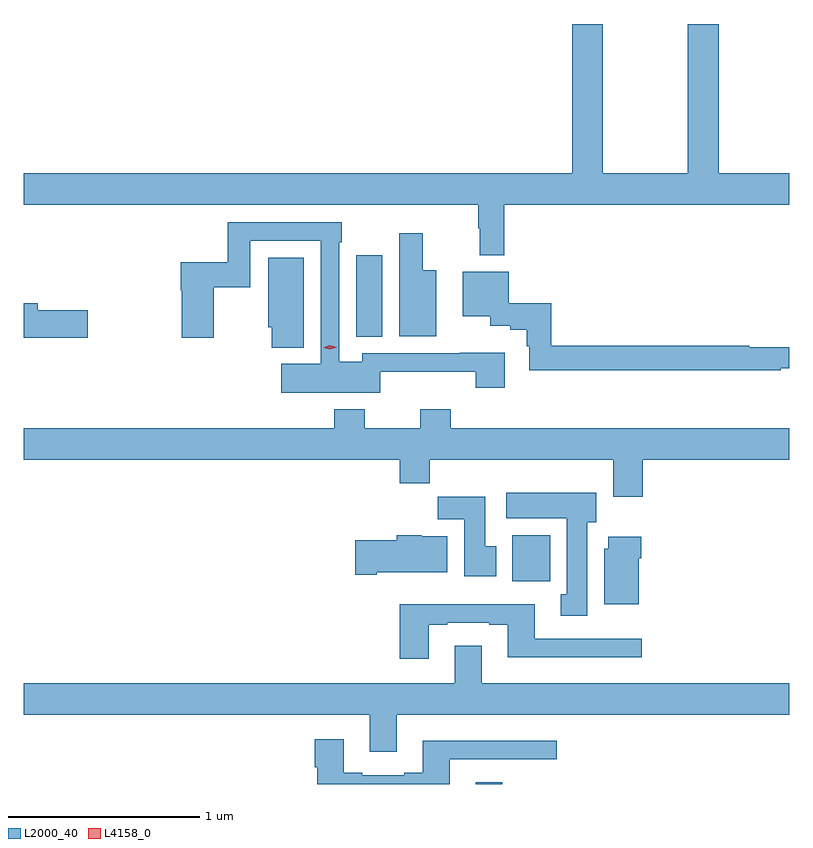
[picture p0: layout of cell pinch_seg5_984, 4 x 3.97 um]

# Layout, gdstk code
import gdstk
lib = gdstk.Library(unit=1e-6, precision=1e-09)
def R(c, l, rs):  # rectangles x0, y0, x1, y1
    for r in rs: c.add(gdstk.rectangle(r[:2], r[2:], *l))
def P(c, l, *ps):  # polygons
    for p in ps: c.add(gdstk.Polygon(p, *l))
L2000_40 = (2000, 40)
L4158_0 = (4158, 0)

pinch_seg5_984 = lib.new_cell('pinch_seg5_984')
R(pinch_seg5_984, L2000_40, [(750.731,863.058,750.871,863.068), (750.923,864.116,751.12,864.358), (750.107,865.393,750.244,865.819)])
P(pinch_seg5_984, L2000_40, [(752.37,866.248),(752,866.248),(752,867.028),(751.84,867.028),(751.84,866.248),(751.395,866.248),(751.395,867.028),(751.235,867.028),(751.235,866.248),(748.37,866.248),(748.37,866.084),(750.745,866.084),(750.745,865.961),(750.753,865.961),(750.753,865.821),(750.881,865.821),(750.881,866.084),(752.37,866.084)],
  [(750.234,865.211),(750.731,865.211),(750.731,865.128),(750.883,865.128),(750.883,865.31),(750.647,865.31),(750.647,865.308),(750.138,865.308),(750.138,865.264),(750.018,865.264),(750.018,865.889),(750.031,865.889),(750.031,865.992),(749.437,865.992),(749.437,865.783),(749.192,865.783),(749.192,865.637),(749.197,865.637),(749.197,865.389),(749.362,865.389),(749.362,865.654),(749.553,865.654),(749.553,865.896),(749.922,865.896),(749.922,865.252),(749.715,865.252),(749.715,865.103),(750.234,865.103)],
  [(750.526,865.741),(750.454,865.741),(750.454,865.936),(750.332,865.936),(750.332,865.397),(750.526,865.397)],
  [(749.833,865.807),(749.648,865.807),(749.648,865.443),(749.666,865.443),(749.666,865.337),(749.833,865.337)],
  [(752.324,865.23),(752.37,865.23),(752.37,865.339),(752.16,865.339),(752.16,865.346),(751.127,865.346),(751.127,865.568),(750.903,865.568),(750.903,865.735),(750.665,865.735),(750.665,865.502),(750.807,865.502),(750.807,865.451),(750.912,865.451),(750.912,865.432),(750.999,865.432),(750.999,865.344),(751.011,865.344),(751.011,865.218),(752.324,865.218)],
  [(748.705,865.532),(748.444,865.532),(748.444,865.568),(748.37,865.568),(748.37,865.39),(748.705,865.39)],
  [(751.604,864.752),(752.37,864.752),(752.37,864.916),(750.602,864.916),(750.602,865.015),(750.442,865.015),(750.442,864.916),(750.153,864.916),(750.153,865.015),(749.993,865.015),(749.993,864.916),(748.37,864.916),(748.37,864.752),(750.335,864.752),(750.335,864.628),(750.491,864.628),(750.491,864.752),(751.451,864.752),(751.451,864.558),(751.604,864.558)],
  [(751.315,864.426),(751.36,864.426),(751.36,864.58),(750.891,864.58),(750.891,864.446),(751.208,864.446),(751.208,864.05),(751.175,864.05),(751.175,863.937),(751.315,863.937)],
  [(750.838,864.3),(750.781,864.3),(750.781,864.559),(750.532,864.559),(750.532,864.44),(750.671,864.44),(750.671,864.144),(750.838,864.144)],
  [(750.214,864.164),(750.583,864.164),(750.583,864.352),(750.45,864.352),(750.45,864.358),(750.32,864.358),(750.32,864.33),(750.102,864.33),(750.102,864.152),(750.214,864.152)],
  [(751.582,864.236),(751.595,864.236),(751.595,864.349),(751.424,864.349),(751.424,864.288),(751.403,864.288),(751.403,863.996),(751.582,863.996)],
  [(750.487,863.889),(750.583,863.889),(750.583,863.901),(750.803,863.901),(750.803,863.889),(750.899,863.889),(750.899,863.72),(751.6,863.72),(751.6,863.817),(751.039,863.817),(751.039,863.998),(750.335,863.998),(750.335,863.712),(750.487,863.712)],
  [(750.319,863.42),(752.37,863.42),(752.37,863.584),(750.763,863.584),(750.763,863.779),(750.623,863.779),(750.623,863.584),(748.37,863.584),(748.37,863.42),(750.179,863.42),(750.179,863.226),(750.319,863.226)],
  [(750.595,863.187),(751.156,863.187),(751.156,863.284),(750.455,863.284),(750.455,863.116),(750.359,863.116),(750.359,863.103),(750.139,863.103),(750.139,863.116),(750.043,863.116),(750.043,863.293),(749.891,863.293),(749.891,863.145),(749.903,863.145),(749.903,863.058),(750.595,863.058)])
P(pinch_seg5_984, L4158_0, [(749.971,865.329),(749.936,865.337),(749.936,865.338),(749.936,865.338),(749.97,865.349),(750.006,865.34),(750.006,865.34),(750.006,865.34)])

lib.write_gds('pinch_seg5_984.gds')
